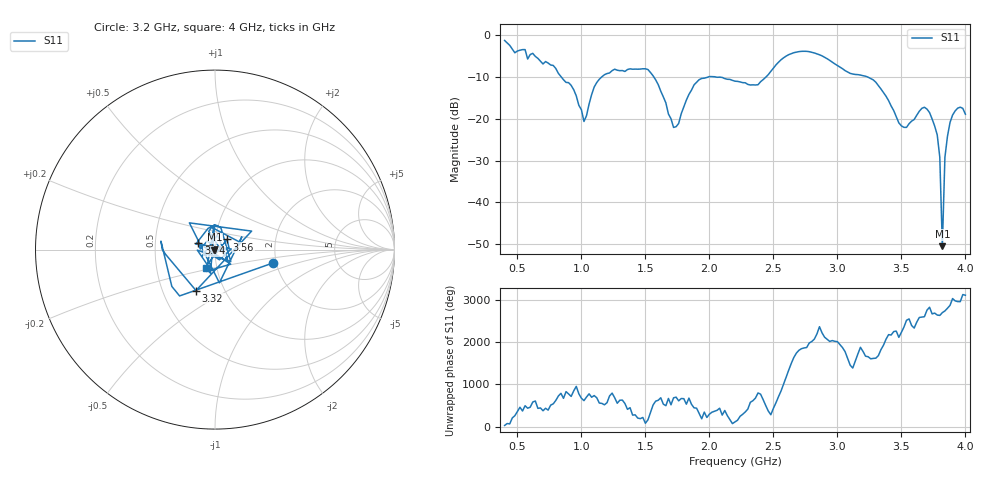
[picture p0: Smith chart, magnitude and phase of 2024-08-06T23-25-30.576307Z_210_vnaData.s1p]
!Created with skrf (http://scikit-rf.org).
# Hz S RI R 50.0
!freq ReS11 ImS11
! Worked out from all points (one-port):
!   181 points, 400 MHz to 4 GHz, reference 50 ohm
!   lowest |S11| = -50.5 dB at 3.82 GHz (marker M1), VSWR 1.01, Z = 49.7 - j0.0453 ohm
!   |S11| at or under -10 dB: 1.567 GHz to 1.986 GHz (419.3 MHz wide, 23.6 % of centre); 2.082 GHz to 2.44 GHz (358.4 MHz wide, 15.9 % of centre); 3.24 GHz to end of sweep (the widest 3 of 5)
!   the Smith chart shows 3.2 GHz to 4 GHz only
!   S11 on the Smith chart (normalised r, x): 3.2 GHz: 1.91, -0.32; 3.32 GHz: 0.73, -0.36; 3.56 GHz: 1.13, +0.13; 3.74 GHz: 0.83, +0.06; 4 GHz: 0.88, -0.18
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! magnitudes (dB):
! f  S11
! 400 MHz  -1.2
! 860 MHz  -10.6
! 940 MHz  -13.0
! 1.02 GHz  -20.6
! 1.12 GHz  -11.3
! 1.3 GHz  -8.4
! 1.52 GHz  -8.2
! 1.6 GHz  -11.8
! 1.72 GHz  -22.1
! 1.76 GHz  -21.1
! 1.92 GHz  -10.6
! 2.2 GHz  -11.0
! 2.38 GHz  -11.8
! 2.66 GHz  -4.1
! 3.1 GHz  -9.1
! 3.2 GHz  -9.6
! 3.32 GHz  -12.0
! 3.48 GHz  -21.0
! 3.56 GHz  -21.2
! 3.68 GHz  -17.2
! 3.74 GHz  -20.0
! 3.78 GHz  -23.8
! 3.8 GHz  -29.2
! 3.82 GHz  -50.5
! 3.84 GHz  -29.2
! 3.86 GHz  -24.2
! 3.92 GHz  -18.1
! 4 GHz  -18.9
